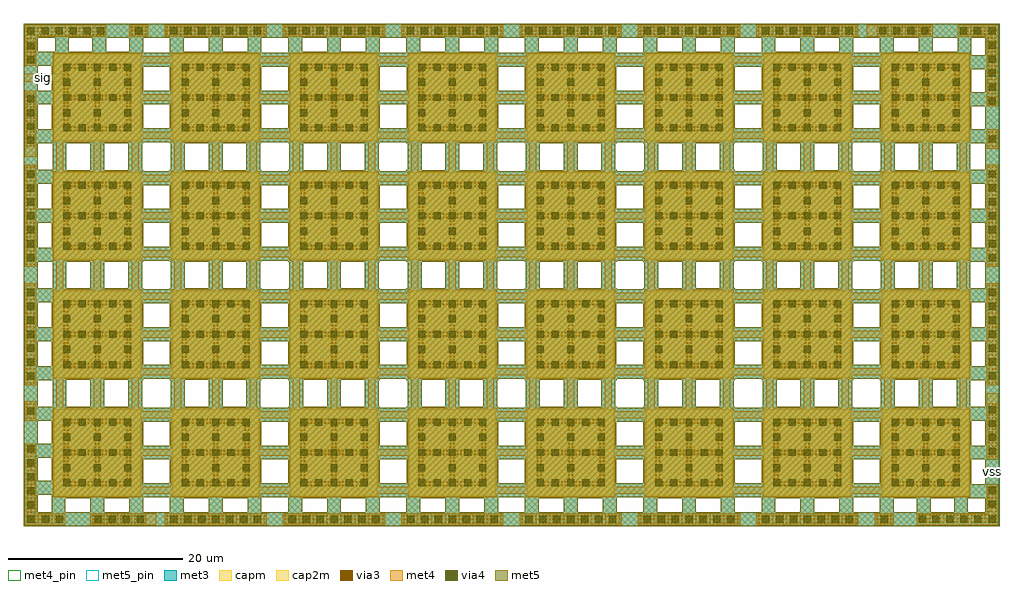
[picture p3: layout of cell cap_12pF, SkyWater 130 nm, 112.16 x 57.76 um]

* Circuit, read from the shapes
.subckt cap_12pF sig vss
XC1 sig vss sky130_fd_pr__cap_mim_m3_1 w=10 l=10 m=32
XC2 vss sig sky130_fd_pr__cap_mim_m3_2 w=10 l=10 m=32
.ends

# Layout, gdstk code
from math import pi, radians
import gdstk
lib = gdstk.Library(unit=1e-6, precision=1e-09)
def R(c, l, rs):  # rectangles x0, y0, x1, y1
    for r in rs: c.add(gdstk.rectangle(r[:2], r[2:], *l))
def A(c, l, x, y, w, h, nx, ny, dx, dy):  # array of equal rectangles
    R(c, l, [(x+i*dx, y+j*dy, x+i*dx+w, y+j*dy+h) for i in range(nx) for j in range(ny)])
met3 = (70, 20)
via3 = (70, 44)
met4_pin = (71, 16)
met4 = (71, 20)
via4 = (71, 44)
met5_pin = (72, 16)
met5 = (72, 20)
capm = (89, 44)
cap2m = (97, 44)

cap_10_10__side_x2 = lib.new_cell('cap_10_10__side_x2')
R(cap_10_10__side_x2, met3, [(-3.56,-1.83,-1.95,-0.3), (-0.22,-1.83,1.38,-0.3), (4.12,-1.83,5.72,-0.29), (8.46,-1.83,10.06,-0.3), (-3.56,-0.3,1.38,-0.29), (8.46,-0.3,10.19,-0.29), (-3.56,-0.29,10.19,-0.17), (-3.56,-0.17,11.72,1.3), (-3.56,1.3,-1.95,4.17), (-0.34,1.3,11.72,1.43), (-0.34,1.43,10.18,4.17), (-3.56,4.17,11.72,5.77), (-3.56,5.77,-1.95,8.64), (-0.34,5.77,10.18,8.51), (-0.34,8.51,11.72,8.64), (-3.56,8.64,11.72,10.11), (-3.56,10.11,10.19,10.23), (-3.56,10.23,1.38,10.24), (4.12,10.23,5.72,11.77), (8.46,10.23,10.19,10.24), (-3.56,10.24,-1.95,11.77), (-0.22,10.24,1.38,11.77), (8.46,10.24,10.06,11.77)])
A(cap_10_10__side_x2, via3, -3.25, -0.735, 0.2, 0.2, 3, 29, 0.4, 0.4)
A(cap_10_10__side_x2, via3, 1.02, 1.07, 0.2, 0.2, 20, 2, 0.4, 0.4)
A(cap_10_10__side_x2, via3, 1.02, 1.87, 0.2, 0.2, 1, 7, 0, 0.4)
A(cap_10_10__side_x2, via3, 1.42, 1.87, 0.2, 0.2, 1, 7, 0, 0.4)
A(cap_10_10__side_x2, via3, 4.62, 1.87, 0.2, 0.2, 1, 7, 0, 0.4)
A(cap_10_10__side_x2, via3, 5.02, 1.87, 0.2, 0.2, 1, 7, 0, 0.4)
A(cap_10_10__side_x2, via3, 8.22, 1.87, 0.2, 0.2, 1, 7, 0, 0.4)
A(cap_10_10__side_x2, via3, 8.62, 1.87, 0.2, 0.2, 1, 7, 0, 0.4)
A(cap_10_10__side_x2, via3, 1.02, 4.67, 0.2, 0.2, 20, 2, 0.4, 0.4)
A(cap_10_10__side_x2, via3, 1.02, 5.47, 0.2, 0.2, 1, 7, 0, 0.4)
A(cap_10_10__side_x2, via3, 1.42, 5.47, 0.2, 0.2, 1, 7, 0, 0.4)
A(cap_10_10__side_x2, via3, 4.62, 5.47, 0.2, 0.2, 1, 7, 0, 0.4)
A(cap_10_10__side_x2, via3, 5.02, 5.47, 0.2, 0.2, 1, 7, 0, 0.4)
A(cap_10_10__side_x2, via3, 8.22, 5.47, 0.2, 0.2, 1, 7, 0, 0.4)
A(cap_10_10__side_x2, via3, 8.62, 5.47, 0.2, 0.2, 1, 7, 0, 0.4)
A(cap_10_10__side_x2, via3, 1.02, 8.27, 0.2, 0.2, 20, 2, 0.4, 0.4)
A(cap_10_10__side_x2, met4, 0.18, -1.83, 0.8, 1.66, 3, 2, 4.34, 11.94)
A(cap_10_10__side_x2, met4, -0.22, 0.23, 11.94, 0.8, 1, 3, 0, 4.34)
R(cap_10_10__side_x2, met4, [(-3.43,-0.905,-2.07,10.835), (-0.22,-0.17,10.06,0.23), (-0.22,1.03,10.06,4.57), (-0.22,5.37,10.06,8.91), (-0.22,9.71,10.06,10.11)])
A(cap_10_10__side_x2, via4, -3.15, -0.235, 0.8, 0.8, 1, 7, 0, 1.6)
A(cap_10_10__side_x2, via4, 1.02, 1.07, 0.8, 0.8, 5, 3, 1.75, 3.5)
A(cap_10_10__side_x2, via4, 1.02, 2.82, 0.8, 0.8, 3, 2, 3.5, 3.5)
R(cap_10_10__side_x2, met5, [(-3.55,-1.83,-1.95,-0.3), (-0.22,-1.83,1.38,-0.3), (4.12,-1.83,5.72,-0.29), (8.46,-1.83,10.06,-0.3), (-3.55,-0.3,1.38,-0.29), (8.46,-0.3,10.19,-0.29), (-3.55,-0.29,10.19,-0.17), (-3.55,-0.17,11.72,1.3), (-3.55,1.3,-1.95,4.17), (-0.34,1.3,11.72,1.43), (-0.34,1.43,10.18,4.17), (-3.55,4.17,11.72,5.77), (-3.55,5.77,-1.95,8.64), (-0.34,5.77,10.18,8.51), (-0.34,8.51,11.72,8.64), (-3.55,8.64,11.72,10.11), (-3.55,10.11,10.19,10.23), (-3.55,10.23,1.38,10.24), (4.12,10.23,5.72,11.77), (8.46,10.23,10.19,10.24), (-3.55,10.24,-1.95,11.77), (-0.22,10.24,1.38,11.77), (8.46,10.24,10.06,11.77)])
R(cap_10_10__side_x2, capm, [(-0.08,-0.03,9.92,9.97)])
R(cap_10_10__side_x2, cap2m, [(-0.08,-0.03,9.92,9.97)])

cap_10_10_edge_x2 = lib.new_cell('cap_10_10_edge_x2')
A(cap_10_10_edge_x2, met3, -0.34, -1.9, 1.6, 1.61, 3, 1, 4.465, 0)
R(cap_10_10_edge_x2, met3, [(-3.56,-3.51,11.72,-1.9), (-3.56,-1.9,-1.95,0.11), (-0.34,-0.29,10.19,-0.17), (-0.34,-0.17,11.72,0.11), (-3.56,0.11,11.72,1.43), (-3.56,1.43,10.18,1.71), (-3.56,1.71,-1.95,4.375), (-0.34,1.71,10.18,4.17), (-0.34,4.17,11.72,4.375), (-3.56,4.375,11.72,5.77), (-3.56,5.77,10.18,5.98), (-3.56,5.98,-1.95,8.64), (-0.34,5.98,10.18,8.51), (-0.34,8.51,11.72,8.64), (-3.56,8.64,11.72,10.11), (-3.56,10.11,10.19,10.23), (-3.56,10.23,1.38,10.24), (4.12,10.23,5.72,11.77), (8.46,10.23,10.19,10.24), (-3.56,10.24,-1.95,11.77), (-0.22,10.24,1.38,11.77), (8.46,10.24,10.06,11.77)])
A(cap_10_10_edge_x2, via3, 4.355, -3.2, 0.2, 0.2, 16, 3, 0.4, 0.4)
A(cap_10_10_edge_x2, via3, -3.17, -3.185, 0.2, 0.2, 11, 3, 0.4, 0.4)
A(cap_10_10_edge_x2, via3, -3.17, -1.985, 0.2, 0.2, 3, 20, 0.4, 0.4)
A(cap_10_10_edge_x2, via3, 1.02, 1.07, 0.2, 0.2, 20, 2, 0.4, 0.4)
A(cap_10_10_edge_x2, via3, 1.02, 1.87, 0.2, 0.2, 1, 7, 0, 0.4)
A(cap_10_10_edge_x2, via3, 1.42, 1.87, 0.2, 0.2, 1, 7, 0, 0.4)
A(cap_10_10_edge_x2, via3, 4.62, 1.87, 0.2, 0.2, 1, 7, 0, 0.4)
A(cap_10_10_edge_x2, via3, 5.02, 1.87, 0.2, 0.2, 1, 7, 0, 0.4)
A(cap_10_10_edge_x2, via3, 8.22, 1.87, 0.2, 0.2, 1, 7, 0, 0.4)
A(cap_10_10_edge_x2, via3, 8.62, 1.87, 0.2, 0.2, 1, 7, 0, 0.4)
A(cap_10_10_edge_x2, via3, 1.02, 4.67, 0.2, 0.2, 20, 2, 0.4, 0.4)
A(cap_10_10_edge_x2, via3, 1.02, 5.47, 0.2, 0.2, 1, 7, 0, 0.4)
A(cap_10_10_edge_x2, via3, 1.42, 5.47, 0.2, 0.2, 1, 7, 0, 0.4)
A(cap_10_10_edge_x2, via3, 4.62, 5.47, 0.2, 0.2, 1, 7, 0, 0.4)
A(cap_10_10_edge_x2, via3, 5.02, 5.47, 0.2, 0.2, 1, 7, 0, 0.4)
A(cap_10_10_edge_x2, via3, 8.22, 5.47, 0.2, 0.2, 1, 7, 0, 0.4)
A(cap_10_10_edge_x2, via3, 8.62, 5.47, 0.2, 0.2, 1, 7, 0, 0.4)
A(cap_10_10_edge_x2, via3, 1.02, 8.27, 0.2, 0.2, 20, 2, 0.4, 0.4)
A(cap_10_10_edge_x2, via3, -3.25, 8.84, 0.2, 0.2, 3, 5, 0.4, 0.4)
A(cap_10_10_edge_x2, met4, -0.22, 0.23, 11.94, 0.8, 1, 3, 0, 4.34)
A(cap_10_10_edge_x2, met4, 0.18, 10.11, 0.8, 1.66, 3, 1, 4.34, 0)
R(cap_10_10_edge_x2, met4, [(-3.43,-3.38,1.265,-2.02), (4.12,-3.38,11.72,-2.02), (-3.43,-2.02,-2.07,5.985), (-0.22,-0.17,10.06,0.23), (-0.22,1.03,10.06,4.57), (-0.22,5.37,10.06,8.91), (-3.43,8.635,-2.07,10.845), (-0.22,9.71,10.06,10.11)])
A(cap_10_10_edge_x2, via4, 4.655, -3.1, 0.8, 0.8, 4, 1, 1.6, 0)
A(cap_10_10_edge_x2, via4, -3.15, -1.41, 0.8, 0.8, 1, 5, 0, 1.6)
A(cap_10_10_edge_x2, via4, 1.02, 1.07, 0.8, 0.8, 5, 3, 1.75, 3.5)
A(cap_10_10_edge_x2, via4, 1.02, 2.82, 0.8, 0.8, 3, 2, 3.5, 3.5)
R(cap_10_10_edge_x2, via4, [(-3.15,-3.1,-2.35,-2.3), (-1.395,-3.1,-0.595,-2.3), (0.205,-3.1,1.005,-2.3), (-3.15,9.34,-2.35,10.14)])
A(cap_10_10_edge_x2, met5, -0.34, -1.9, 1.6, 1.61, 3, 1, 4.465, 0)
R(cap_10_10_edge_x2, met5, [(-3.55,-3.5,11.72,-1.9), (-3.55,-1.9,-1.95,0.11), (-0.34,-0.29,10.19,-0.17), (-0.34,-0.17,11.72,0.11), (-3.55,0.11,11.72,1.43), (-3.55,1.43,10.18,1.71), (-3.55,1.71,-1.95,4.375), (-0.34,1.71,10.18,4.17), (-0.34,4.17,11.72,4.375), (-3.55,4.375,11.72,5.77), (-3.55,5.77,10.18,5.98), (-3.55,5.98,-1.95,8.64), (-0.34,5.98,10.18,8.51), (-0.34,8.51,11.72,8.64), (-3.55,8.64,11.72,10.11), (-3.55,10.11,10.19,10.23), (-3.55,10.23,1.38,10.24), (4.12,10.23,5.72,11.77), (8.46,10.23,10.19,10.24), (-3.55,10.24,-1.95,11.77), (-0.22,10.24,1.38,11.77), (8.46,10.24,10.06,11.77)])
R(cap_10_10_edge_x2, capm, [(-0.08,-0.03,9.92,9.97)])
R(cap_10_10_edge_x2, cap2m, [(-0.08,-0.03,9.92,9.97)])

cap_10_10_x2 = lib.new_cell('cap_10_10_x2')
A(cap_10_10_x2, met3, -1.88, -0.17, 13.6, 1.6, 1, 3, 0, 4.34)
R(cap_10_10_x2, met3, [(-0.22,-1.83,1.38,-0.3), (4.12,-1.83,5.72,-0.29), (8.46,-1.83,10.06,-0.3), (-0.35,-0.3,1.38,-0.29), (8.46,-0.3,10.19,-0.29), (-0.35,-0.29,10.19,-0.17), (-0.34,1.43,10.18,4.17), (-0.34,5.77,10.18,8.51), (-0.35,10.11,10.19,10.23), (-0.35,10.23,1.38,10.24), (4.12,10.23,5.72,11.77), (8.46,10.23,10.19,10.24), (-0.22,10.24,1.38,11.77), (8.46,10.24,10.06,11.77)])
A(cap_10_10_x2, via3, 1.02, 1.07, 0.2, 0.2, 20, 2, 0.4, 0.4)
A(cap_10_10_x2, via3, 1.02, 1.87, 0.2, 0.2, 1, 7, 0, 0.4)
A(cap_10_10_x2, via3, 1.42, 1.87, 0.2, 0.2, 1, 7, 0, 0.4)
A(cap_10_10_x2, via3, 4.62, 1.87, 0.2, 0.2, 1, 7, 0, 0.4)
A(cap_10_10_x2, via3, 5.02, 1.87, 0.2, 0.2, 1, 7, 0, 0.4)
A(cap_10_10_x2, via3, 8.22, 1.87, 0.2, 0.2, 1, 7, 0, 0.4)
A(cap_10_10_x2, via3, 8.62, 1.87, 0.2, 0.2, 1, 7, 0, 0.4)
A(cap_10_10_x2, via3, 1.02, 4.67, 0.2, 0.2, 20, 2, 0.4, 0.4)
A(cap_10_10_x2, via3, 1.02, 5.47, 0.2, 0.2, 1, 7, 0, 0.4)
A(cap_10_10_x2, via3, 1.42, 5.47, 0.2, 0.2, 1, 7, 0, 0.4)
A(cap_10_10_x2, via3, 4.62, 5.47, 0.2, 0.2, 1, 7, 0, 0.4)
A(cap_10_10_x2, via3, 5.02, 5.47, 0.2, 0.2, 1, 7, 0, 0.4)
A(cap_10_10_x2, via3, 8.22, 5.47, 0.2, 0.2, 1, 7, 0, 0.4)
A(cap_10_10_x2, via3, 8.62, 5.47, 0.2, 0.2, 1, 7, 0, 0.4)
A(cap_10_10_x2, via3, 1.02, 8.27, 0.2, 0.2, 20, 2, 0.4, 0.4)
A(cap_10_10_x2, met4, 0.18, -1.83, 0.8, 1.66, 3, 2, 4.34, 11.94)
A(cap_10_10_x2, met4, -1.88, 0.23, 13.6, 0.8, 1, 3, 0, 4.34)
R(cap_10_10_x2, met4, [(-0.22,-0.17,10.06,0.23), (-0.22,1.03,10.06,4.57), (-0.22,5.37,10.06,8.91), (-0.22,9.71,10.06,10.11)])
A(cap_10_10_x2, via4, 1.02, 1.07, 0.8, 0.8, 5, 3, 1.75, 3.5)
A(cap_10_10_x2, via4, 1.02, 2.82, 0.8, 0.8, 3, 2, 3.5, 3.5)
A(cap_10_10_x2, met5, -1.88, -0.17, 13.6, 1.6, 1, 3, 0, 4.34)
R(cap_10_10_x2, met5, [(-0.22,-1.83,1.38,-0.3), (4.12,-1.83,5.72,-0.29), (8.46,-1.83,10.06,-0.3), (-0.35,-0.3,1.38,-0.29), (8.46,-0.3,10.19,-0.29), (-0.35,-0.29,10.19,-0.17), (-0.34,1.43,10.18,4.17), (-0.34,5.77,10.18,8.51), (-0.35,10.11,10.19,10.23), (-0.35,10.23,1.38,10.24), (4.12,10.23,5.72,11.77), (8.46,10.23,10.19,10.24), (-0.22,10.24,1.38,11.77), (8.46,10.24,10.06,11.77)])
R(cap_10_10_x2, capm, [(-0.08,-0.03,9.92,9.97)])
R(cap_10_10_x2, cap2m, [(-0.08,-0.03,9.92,9.97)])

cap_12pf = lib.new_cell('cap_12pF')
R(cap_12pf, met4_pin, [(-13.36,37.69,-8.85,38.62)])
R(cap_12pf, met4, [(-13.36,37.69,-8.85,38.62)])
R(cap_12pf, met5_pin, [(97.18,-8.55,98.78,-5.685)])
R(cap_12pf, met5, [(97.18,-8.55,98.78,-5.685)])
r = gdstk.Reference(cap_10_10__side_x2, (13.68,-9.81), rotation=pi/2); r.repetition = gdstk.Repetition(1, 6, v1=(0,15.28), v2=(13.6,0)); cap_12pf.add(r)
cap_12pf.add(gdstk.Reference(cap_10_10__side_x2, (-9.81,3.74)))
cap_12pf.add(gdstk.Reference(cap_10_10__side_x2, (95.23,13.68), rotation=pi))
cap_12pf.add(gdstk.Reference(cap_10_10_edge_x2, (-9.81,-9.86)))
cap_12pf.add(gdstk.Reference(cap_10_10_edge_x2, (95.28,-9.81), rotation=pi/2))
r = gdstk.Reference(cap_10_10_x2, (3.79,3.74)); r.repetition = gdstk.Repetition(6, 2, v1=(13.6,0), v2=(0,13.6)); cap_12pf.add(r)
r = gdstk.Reference(cap_10_10__side_x2, (71.74,40.83), rotation=3*pi/2); r.repetition = gdstk.Repetition(1, 6, v1=(0,-15.28), v2=(-13.6,0)); cap_12pf.add(r)
cap_12pf.add(gdstk.Reference(cap_10_10__side_x2, (95.23,27.28), rotation=pi))
cap_12pf.add(gdstk.Reference(cap_10_10__side_x2, (-9.81,17.34)))
cap_12pf.add(gdstk.Reference(cap_10_10_edge_x2, (95.23,40.88), rotation=pi))
cap_12pf.add(gdstk.Reference(cap_10_10_edge_x2, (-9.86,40.83), rotation=3*pi/2))
cap_12pf.add(gdstk.Label('sig', (-11.105,38.155), layer=71, texttype=16))
cap_12pf.add(gdstk.Label('vss', (97.98,-7.117), layer=72, texttype=16))

lib.write_gds('cap_12pF.gds')
